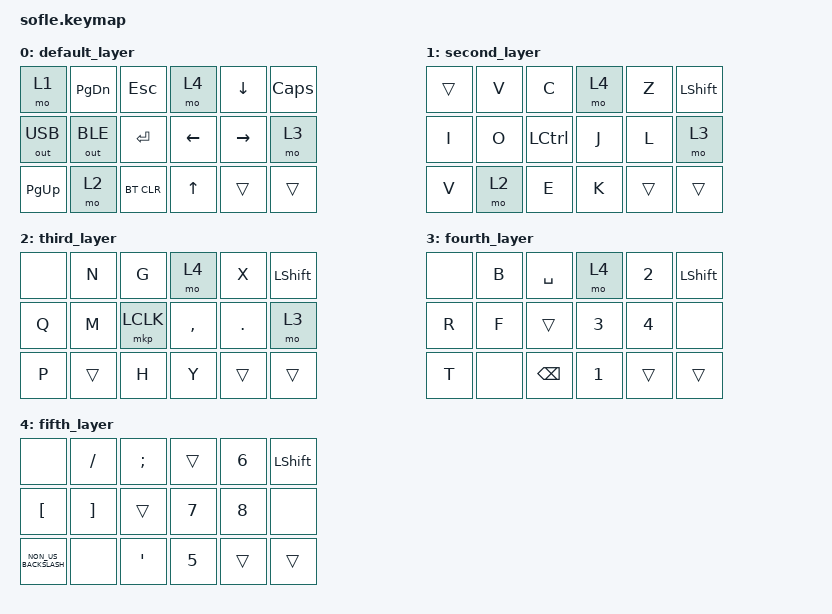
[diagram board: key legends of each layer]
/*
 * Copyright (c) 2020 The ZMK Contributors
 *
 * SPDX-License-Identifier: MIT
 */

#include <behaviors.dtsi>
#include <dt-bindings/zmk/keys.h>
#include <dt-bindings/zmk/bt.h>
#include <dt-bindings/zmk/outputs.h>

/ {
    // Activate ADJUST layer by pressing raise and lower

    conditional_layers {
        compatible = "zmk,conditional-layers";

        adjust_layer {
            if-layers = <0 0>;
            then-layer = <0>;
        };
    };

    keymap {
        compatible = "zmk,keymap";

        default_layer {

            bindings = <
    &mo 1          &kp PAGE_DOWN  &kp ESC      &mo 4         &kp DOWN   &kp CAPS  
    &out OUT_USB   &out OUT_BLE   &kp ENTER    &kp LEFT      &kp RIGHT  &mo 3         
    &kp PG_UP      &mo 2          &bt BT_CLR   &kp UP_ARROW  &trans     &trans         
            >;

        };

        second_layer {
            bindings = <
        &trans  &kp V  &kp C      &mo 4  &kp Z   &kp LEFT_SHIFT       
        &kp I   &kp O  &kp LCTRL  &kp J  &kp L   &mo 3               
        &kp V   &mo 2  &kp E      &kp K  &trans  &trans              
            >;

        };

        third_layer {
            bindings = <
        &none  &kp N   &kp G      &mo 4      &kp X       &kp LSHIFT      
        &kp Q  &kp M   &mkp LCLK  &kp COMMA  &kp PERIOD  &mo 3            
        &kp P  &trans  &kp H      &kp Y      &trans      &trans          
            >;
        };

        fourth_layer {
            bindings = <
        &none  &kp B  &kp SPACE      &mo 4         &kp NUMBER_2  &kp LEFT_SHIFT    
        &kp R  &kp F  &trans         &kp NUMBER_3  &kp NUMBER_4  &none              
        &kp T  &none  &kp BACKSPACE  &kp NUMBER_1  &trans        &trans             
            >;
        };

        fifth_layer {
            bindings = <
        &none                 &kp SLASH          &kp SEMICOLON  &trans  &kp NUMBER_6  &kp LEFT_SHIFT    
        &kp LEFT_BRACKET      &kp RIGHT_BRACKET  &trans         &kp N7  &kp N8        &none             
        &kp NON_US_BACKSLASH  &none              &kp SQT        &kp N5  &trans        &trans            
            >;
        };

    };
};
